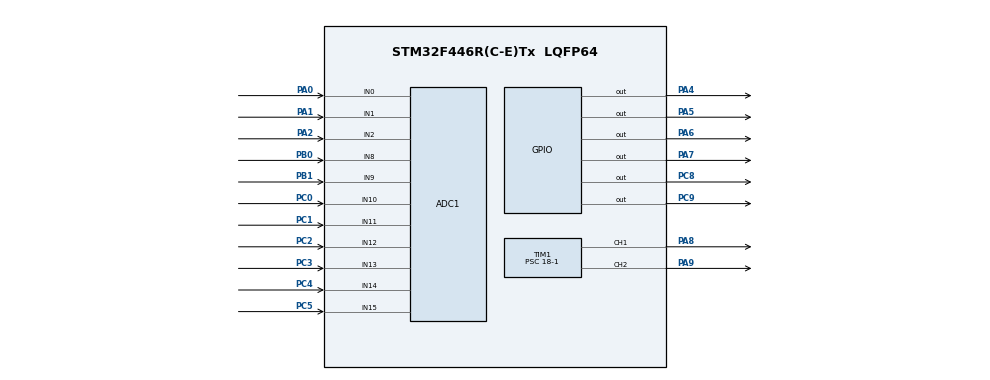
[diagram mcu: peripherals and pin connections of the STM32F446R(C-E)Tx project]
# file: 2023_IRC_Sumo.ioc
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ADC1.Channel-0\#ChannelRegularConversion=ADC_CHANNEL_0
ADC1.Channel-1\#ChannelRegularConversion=ADC_CHANNEL_8
ADC1.Channel-12\#ChannelRegularConversion=ADC_CHANNEL_10
ADC1.Channel-2\#ChannelRegularConversion=ADC_CHANNEL_11
ADC1.Channel-3\#ChannelRegularConversion=ADC_CHANNEL_12
ADC1.Channel-4\#ChannelRegularConversion=ADC_CHANNEL_13
ADC1.Channel-5\#ChannelRegularConversion=ADC_CHANNEL_14
ADC1.Channel-6\#ChannelRegularConversion=ADC_CHANNEL_15
ADC1.Channel-7\#ChannelRegularConversion=ADC_CHANNEL_1
ADC1.Channel-8\#ChannelRegularConversion=ADC_CHANNEL_2
ADC1.Channel-9\#ChannelRegularConversion=ADC_CHANNEL_9
ADC1.ContinuousConvMode=ENABLE
ADC1.DMAContinuousRequests=ENABLE
ADC1.EOCSelection=ADC_EOC_SEQ_CONV
ADC1.ExternalTrigConv=ADC_SOFTWARE_START
ADC1.NbrOfConversion=11
ADC1.NbrOfConversionFlag=1
ADC1.Rank-0\#ChannelRegularConversion=1
ADC1.Rank-1\#ChannelRegularConversion=2
ADC1.Rank-12\#ChannelRegularConversion=11
ADC1.Rank-2\#ChannelRegularConversion=3
ADC1.Rank-3\#ChannelRegularConversion=4
ADC1.Rank-4\#ChannelRegularConversion=5
ADC1.Rank-5\#ChannelRegularConversion=6
ADC1.Rank-6\#ChannelRegularConversion=7
ADC1.Rank-7\#ChannelRegularConversion=8
ADC1.Rank-8\#ChannelRegularConversion=9
ADC1.Rank-9\#ChannelRegularConversion=10
ADC1.SamplingTime-0\#ChannelRegularConversion=ADC_SAMPLETIME_15CYCLES
ADC1.SamplingTime-1\#ChannelRegularConversion=ADC_SAMPLETIME_15CYCLES
ADC1.SamplingTime-12\#ChannelRegularConversion=ADC_SAMPLETIME_15CYCLES
ADC1.SamplingTime-2\#ChannelRegularConversion=ADC_SAMPLETIME_15CYCLES
ADC1.SamplingTime-3\#ChannelRegularConversion=ADC_SAMPLETIME_15CYCLES
ADC1.SamplingTime-4\#ChannelRegularConversion=ADC_SAMPLETIME_15CYCLES
ADC1.SamplingTime-5\#ChannelRegularConversion=ADC_SAMPLETIME_15CYCLES
ADC1.SamplingTime-6\#ChannelRegularConversion=ADC_SAMPLETIME_15CYCLES
ADC1.SamplingTime-7\#ChannelRegularConversion=ADC_SAMPLETIME_15CYCLES
ADC1.SamplingTime-8\#ChannelRegularConversion=ADC_SAMPLETIME_15CYCLES
ADC1.SamplingTime-9\#ChannelRegularConversion=ADC_SAMPLETIME_15CYCLES
ADC1.ScanConvMode=ENABLE
ADC1.master=1
Dma.ADC1.0.Direction=DMA_PERIPH_TO_MEMORY
Dma.ADC1.0.FIFOMode=DMA_FIFOMODE_DISABLE
Dma.ADC1.0.Instance=DMA2_Stream0
Dma.ADC1.0.MemDataAlignment=DMA_MDATAALIGN_WORD
Dma.ADC1.0.MemInc=DMA_MINC_ENABLE
Dma.ADC1.0.Mode=DMA_CIRCULAR
Dma.ADC1.0.PeriphDataAlignment=DMA_PDATAALIGN_WORD
Dma.ADC1.0.PeriphInc=DMA_PINC_DISABLE
Dma.ADC1.0.Priority=DMA_PRIORITY_LOW
Dma.Request0=ADC1
Mcu.Family=STM32F4
Mcu.Name=STM32F446R(C-E)Tx
Mcu.Package=LQFP64
NVIC.DMA2_Stream0_IRQn=true\:0\:0\:false\:false\:true\:false\:true\:true
NVIC.PriorityGroup=NVIC_PRIORITYGROUP_4
NVIC.TIM1_BRK_TIM9_IRQn=true\:0\:0\:false\:false\:true\:true\:true\:true
NVIC.TIM1_CC_IRQn=true\:0\:0\:false\:false\:true\:true\:true\:true
NVIC.TIM1_TRG_COM_TIM11_IRQn=true\:0\:0\:false\:false\:true\:true\:true\:true
NVIC.TIM1_UP_TIM10_IRQn=true\:0\:0\:false\:false\:true\:true\:true\:true
NVIC.TIM6_DAC_IRQn=true\:0\:0\:false\:false\:true\:true\:true\:true
NVIC.TIM7_IRQn=true\:0\:0\:false\:false\:true\:true\:true\:true
NVIC.TIM8_UP_TIM13_IRQn=true\:0\:0\:false\:false\:true\:true\:true\:true
PA0-WKUP.Signal=ADCx_IN0
PA1.Signal=ADCx_IN1
PA13.Mode=Serial_Wire
PA13.Signal=SYS_JTMS-SWDIO
PA14.Mode=Serial_Wire
PA14.Signal=SYS_JTCK-SWCLK
PA2.Signal=ADCx_IN2
PA4.Signal=GPIO_Output
PA5.Signal=GPIO_Output
PA6.Signal=GPIO_Output
PA7.Signal=GPIO_Output
PA8.Signal=S_TIM1_CH1
PA9.Signal=S_TIM1_CH2
PB0.Signal=ADCx_IN8
PB1.Signal=ADCx_IN9
PC0.Signal=ADCx_IN10
PC1.Signal=ADCx_IN11
PC2.Signal=ADCx_IN12
PC3.Signal=ADCx_IN13
PC4.Signal=ADCx_IN14
PC5.Signal=ADCx_IN15
PC8.Signal=GPIO_Output
PC9.Signal=GPIO_Output
PH0-OSC_IN.Mode=HSE-External-Oscillator
PH0-OSC_IN.Signal=RCC_OSC_IN
PH1-OSC_OUT.Mode=HSE-External-Oscillator
PH1-OSC_OUT.Signal=RCC_OSC_OUT
ProjectManager.HeapSize=0x200
ProjectManager.StackSize=0x400
ProjectManager.TargetToolchain=STM32CubeIDE
RCC.AHBFreq_Value=180000000
RCC.APB1CLKDivider=RCC_HCLK_DIV4
RCC.APB1Freq_Value=45000000
RCC.APB1TimFreq_Value=90000000
RCC.APB2CLKDivider=RCC_HCLK_DIV2
RCC.APB2Freq_Value=90000000
RCC.APB2TimFreq_Value=180000000
RCC.CortexFreq_Value=180000000
RCC.HCLKFreq_Value=180000000
RCC.HSE_VALUE=16000000
RCC.PLLM=8
RCC.PLLN=180
RCC.SYSCLKFreq_VALUE=180000000
RCC.SYSCLKSource=RCC_SYSCLKSOURCE_PLLCLK
RCC.USBFreq_Value=180000000
RCC.VCOOutputFreq_Value=360000000
SH.ADCx_IN0.0=ADC1_IN0,IN0
SH.ADCx_IN1.0=ADC1_IN1,IN1
SH.ADCx_IN10.0=ADC1_IN10,IN10
SH.ADCx_IN11.0=ADC1_IN11,IN11
SH.ADCx_IN12.0=ADC1_IN12,IN12
SH.ADCx_IN13.0=ADC1_IN13,IN13
SH.ADCx_IN14.0=ADC1_IN14,IN14
SH.ADCx_IN15.0=ADC1_IN15,IN15
SH.ADCx_IN2.0=ADC1_IN2,IN2
SH.ADCx_IN8.0=ADC1_IN8,IN8
SH.ADCx_IN9.0=ADC1_IN9,IN9
SH.S_TIM1_CH1.0=TIM1_CH1,PWM Generation1 CH1
SH.S_TIM1_CH2.0=TIM1_CH2,PWM Generation2 CH2
TIM1.AutomaticOutput=TIM_AUTOMATICOUTPUT_ENABLE
TIM1.Channel-PWM\ Generation1\ CH1=TIM_CHANNEL_1
TIM1.Channel-PWM\ Generation2\ CH2=TIM_CHANNEL_2
TIM1.Period=1000-1
TIM1.Prescaler=18-1
TIM6.Period=1000-1
TIM6.Prescaler=90-1
TIM7.Period=20000-1
TIM7.Prescaler=90-1
TIM8.Period=1000-1
TIM8.Prescaler=180-1
TIM8.TIM_MasterOutputTrigger=TIM_TRGO_UPDATE
VP_TIM6_VS_ClockSourceINT.Mode=Enable_Timer
VP_TIM7_VS_ClockSourceINT.Mode=Enable_Timer
VP_TIM8_VS_ClockSourceINT.Mode=Internal
board=custom

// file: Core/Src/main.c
/* USER CODE BEGIN Header */
/**
  ******************************************************************************
  * @file           : main.c
  * @brief          : Main program body
  ******************************************************************************
  * @attention
  *
  * Copyright (c) 2023 STMicroelectronics.
  * All rights reserved.
  *
  * This software is licensed under terms that can be found in the LICENSE file
  * in the root directory of this software component.
  * If no LICENSE file comes with this software, it is provided AS-IS.
  *
  ******************************************************************************
  */
/* USER CODE END Header */
#include "main.h"
#include "adc.h"
#include "dma.h"
#include "tim.h"
#include "gpio.h"

/* USER CODE BEGIN Includes */

#include "JControl.h"
#include "JSensing.h"
#include "Protocol2.h"
#include "iBus.h"

/* USER CODE END Includes */

/* USER CODE BEGIN PD */

//timer
#define DEGREE 150
#define SECOND 900

/* USER CODE END PD */

/* USER CODE BEGIN PV */

//direction
DIRECTION Direction1;
DIRECTION Direction2;

//duty
DUTY MotorDutyVelocity1;
DUTY MotorDutyVelocity2;
int DutyTarget1 = 0;
int DutyTarget2 = 0;

//adc
uint32_t adc_rawdata[11] = {0, }; //right_back: 0, left_back: 1, bottom: 2, pixy1: 3 right_front: 4, pixy2: 5, left_front: 6
MAF PSD_front_left;
MAF PSD_front_right;
MAF PSD_back_left;
MAF PSD_back_right;
MAF PSD_bottom;
MAF IR1;
MAF IR2;
MAF PSD_Side1;
MAF PSD_Side2;

//timer
int firstleft = 0;
int secondfront = 0;
int thirdleft = 0;
int fourthfront = 0;

/* USER CODE END PV */

void SystemClock_Config(void);

/* USER CODE BEGIN 0 */

void SetDirection()
{
	Direction1.FrontEncoderDirection = CCW;
	Direction1.FrontMotorDirection = SET;

	Direction2.FrontEncoderDirection = CW;
	Direction2.FrontMotorDirection = RESET;
}

void SetDutyControl()
{
	MotorDutyVelocity1.duty = 0;
	MotorDutyVelocity1.dutylimit = 900;

	MotorDutyVelocity2.duty = 0;
	MotorDutyVelocity2.dutylimit = 900;
}

/* USER CODE END 0 */

int main(void)
{
  /* USER CODE BEGIN 1 */

  SetDirection();
  SetDutyControl();

  firstleft = DEGREE;
  secondfront = DEGREE + SECOND;
  thirdleft = secondfront + (DEGREE * 2.5);
  fourthfront = thirdleft + (SECOND);

  /* USER CODE END 1 */

  /* MCU Configuration--------------------------------------------------------*/

  /* Reset of all peripherals, Initializes the Flash interface and the Systick. */
  HAL_Init();

  /* USER CODE BEGIN Init */

  MAF_Init(&PSD_front_left, 5);
  MAF_Init(&PSD_front_right, 5);
  MAF_Init(&PSD_back_left, 5);
  MAF_Init(&PSD_back_right, 5);
  MAF_Init(&PSD_bottom, 5);
  MAF_Init(&IR1, 5);
  MAF_Init(&IR2, 5);
  MAF_Init(&PSD_Side1, 5);
  MAF_Init(&PSD_Side2, 5);

  /* USER CODE END Init */

  /* Configure the system clock */
  SystemClock_Config();

  /* Initialize all configured peripherals */
  MX_GPIO_Init();
  MX_DMA_Init();
  MX_TIM6_Init();
  MX_ADC1_Init();
  MX_TIM8_Init();
  MX_TIM1_Init();
  MX_TIM7_Init();
  /* USER CODE BEGIN 2 */

  //pwmTimer
  LL_TIM_CC_EnableChannel(TIM1, LL_TIM_CHANNEL_CH1);
  LL_TIM_CC_EnableChannel(TIM1, LL_TIM_CHANNEL_CH2);
  LL_TIM_EnableCounter(TIM1);

  //controlTimer
  LL_TIM_EnableIT_UPDATE(TIM6);
  LL_TIM_EnableCounter(TIM6);

  LL_TIM_EnableIT_UPDATE(TIM7);
  LL_TIM_EnableCounter(TIM7);

  //adcTimer
  LL_TIM_EnableIT_UPDATE(TIM8);
  LL_TIM_EnableCounter(TIM8);

  //adc
  LL_DMA_ConfigAddresses(DMA2,
		  LL_DMA_STREAM_0,
		  LL_ADC_DMA_GetRegAddr(ADC1, LL_ADC_DMA_REG_REGULAR_DATA),
		  adc_rawdata,
		  LL_DMA_DIRECTION_PERIPH_TO_MEMORY);
  LL_DMA_SetDataLength(DMA2, LL_DMA_STREAM_0, 11);
  LL_DMA_EnableIT_TC(DMA2, LL_DMA_STREAM_0);
  LL_DMA_EnableStream(DMA2, LL_DMA_STREAM_0);
  LL_ADC_Enable(ADC1);
  LL_ADC_REG_StartConversionSWStart(ADC1);

  /* USER CODE END 2 */

  /* Infinite loop */
  while (1)
  {

  }
}

void SystemClock_Config(void)
{
  LL_FLASH_SetLatency(LL_FLASH_LATENCY_5);
  while(LL_FLASH_GetLatency()!= LL_FLASH_LATENCY_5)
  {
  }
  LL_PWR_SetRegulVoltageScaling(LL_PWR_REGU_VOLTAGE_SCALE1);
  LL_PWR_EnableOverDriveMode();
  LL_RCC_HSI_SetCalibTrimming(16);
  LL_RCC_HSI_Enable();

   /* Wait till HSI is ready */
  while(LL_RCC_HSI_IsReady() != 1)
  {

  }
  LL_RCC_PLL_ConfigDomain_SYS(LL_RCC_PLLSOURCE_HSI, LL_RCC_PLLM_DIV_8, 180, LL_RCC_PLLP_DIV_2);
  LL_RCC_PLL_Enable();

   /* Wait till PLL is ready */
  while(LL_RCC_PLL_IsReady() != 1)
  {

  }
  while (LL_PWR_IsActiveFlag_VOS() == 0)
  {
  }
  LL_RCC_SetAHBPrescaler(LL_RCC_SYSCLK_DIV_1);
  LL_RCC_SetAPB1Prescaler(LL_RCC_APB1_DIV_4);
  LL_RCC_SetAPB2Prescaler(LL_RCC_APB2_DIV_2);
  LL_RCC_SetSysClkSource(LL_RCC_SYS_CLKSOURCE_PLL);

   /* Wait till System clock is ready */
  while(LL_RCC_GetSysClkSource() != LL_RCC_SYS_CLKSOURCE_STATUS_PLL)
  {

  }
  LL_SetSystemCoreClock(180000000);

   /* Update the time base */
  if (HAL_InitTick (TICK_INT_PRIORITY) != HAL_OK)
  {
    Error_Handler();
  }
  LL_RCC_SetTIMPrescaler(LL_RCC_TIM_PRESCALER_TWICE);
}

void Error_Handler(void)
{
  __disable_irq();
  while (1)
  {
  }
}
